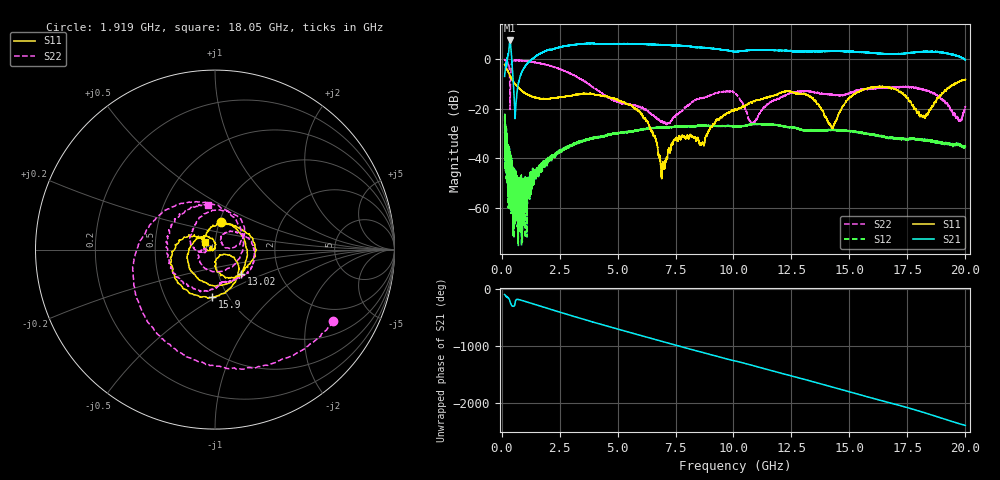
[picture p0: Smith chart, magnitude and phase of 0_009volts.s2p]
!Created with skrf (http://scikit-rf.org).
# GHz S RI R 50.0
!freq ReS11 ImS11 ReS21 ImS21 ReS12 ImS12 ReS22 ImS22
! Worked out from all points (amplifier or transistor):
!   20013 points, 130 MHz to 20 GHz, reference 50 ohm
!   highest |S21| = 7.5 dB at 356 MHz (marker M1)
!   |S21| within 3 dB of that: 2.398 GHz to 8.835 GHz (6.437 GHz wide, 115 % of centre)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
!   unconditionally stable (mu >= 1): 160.5 MHz to 163.7 MHz; 164.3 MHz to 172.9 MHz; 173.1 MHz to end of sweep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
!   at 3.465 GHz: K = 8.95, MAG = 6.9 dB, |S12| = -32.8 dB
!   at 10.14 GHz: K = 7.68, MAG = 3.2 dB, |S12| = -27.1 dB
!   at 20 GHz: K = 25.10, MAG = 0.5 dB, |S12| = -35.3 dB
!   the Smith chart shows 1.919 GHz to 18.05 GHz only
!   S11 on the Smith chart (normalised r, x): 1.919 GHz: 1.02, +0.32; 13.02 GHz: 1.28, -0.36; 15.9 GHz: 0.84, -0.48; 18.05 GHz: 0.89, +0.07
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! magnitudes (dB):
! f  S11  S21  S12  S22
! 130 MHz  -2.0  -6.9  -22.8  -0.2
! 356 MHz  -6.4  7.5  -40.9  -13.1
! 611 MHz  -10.3  -18.3  -45.4  -0.5
! 987 MHz  -13.5  -3.3  -53.4  -0.7
! 1.919 GHz  -16.0  3.4  -41.1  -2.3
! 3.442 GHz  -14.1  6.1  -33.1  -8.2
! 5.89 GHz  -20.9  6.1  -28.7  -19.2
! 6.754 GHz  -37.5  5.9  -27.6  -24.4
! 6.96 GHz  -41.9  5.8  -27.6  -25.3
! 7.473 GHz  -32.5  5.5  -27.2  -23.1
! 8.656 GHz  -33.7  4.7  -26.9  -15.7
! 10.06 GHz  -20.1  3.1  -27.2  -13.8
! 10.82 GHz  -17.4  3.7  -26.3  -25.9
! 13.02 GHz  -14.1  3.1  -28.6  -13.1
! 13.38 GHz  -15.5  3.1  -28.7  -13.1
! 14.26 GHz  -27.8  3.3  -28.7  -14.3
! 14.95 GHz  -16.0  3.2  -29.0  -13.8
! 15.9 GHz  -11.5  2.6  -30.3  -12.1
! 16.69 GHz  -11.5  2.1  -31.8  -11.6
! 18.05 GHz  -23.0  2.9  -32.5  -12.1
! 19.75 GHz  -8.9  1.0  -34.8  -24.6
! 20 GHz  -8.2  -0.3  -35.3  -19.1
